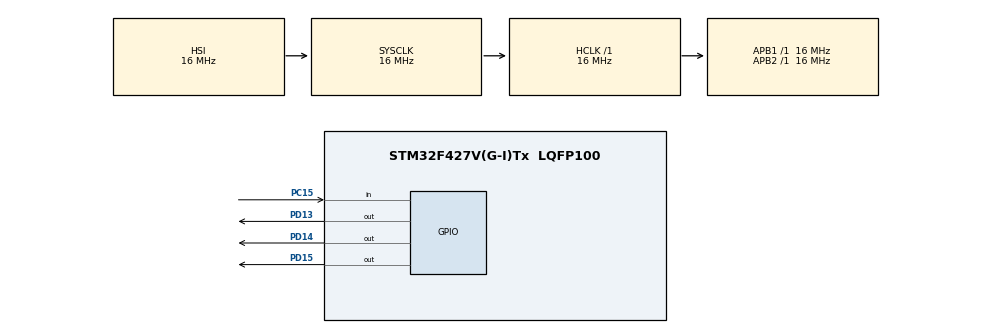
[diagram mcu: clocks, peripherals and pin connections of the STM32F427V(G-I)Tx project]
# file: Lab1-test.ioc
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Mcu.Family=STM32F4
Mcu.Name=STM32F427V(G-I)Tx
Mcu.Package=LQFP100
NVIC.PriorityGroup=NVIC_PRIORITYGROUP_4
PA13.Mode=JTAG_5_pins
PA13.Signal=SYS_JTMS-SWDIO
PA14.Mode=JTAG_5_pins
PA14.Signal=SYS_JTCK-SWCLK
PA15.Mode=JTAG_5_pins
PA15.Signal=SYS_JTDI
PB3.Mode=JTAG_5_pins
PB3.Signal=SYS_JTDO-SWO
PB4.Mode=JTAG_5_pins
PB4.Signal=SYS_JTRST
PC15/OSC32_OUT.Signal=GPIO_Input
PD13.Signal=GPIO_Output
PD14.Signal=GPIO_Output
PD15.Signal=GPIO_Output
ProjectManager.HeapSize=0x200
ProjectManager.StackSize=0x400
ProjectManager.TargetToolchain=STM32CubeIDE
RCC.AHBFreq_Value=16000000
RCC.APB1Freq_Value=16000000
RCC.APB2Freq_Value=16000000
RCC.CortexFreq_Value=16000000
RCC.HSE_VALUE=25000000
RCC.HSI_VALUE=16000000
RCC.LSE_VALUE=32768
RCC.SYSCLKFreq_VALUE=16000000
RCC.VCOOutputFreq_Value=192000000
board=custom

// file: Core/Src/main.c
/* USER CODE BEGIN Header */
/**
  ******************************************************************************
  * @file           : main.c
  * @brief          : Main program body
  ******************************************************************************
  * @attention
  *
  * Copyright (c) 2022 STMicroelectronics.
  * All rights reserved.
  *
  * This software is licensed under terms that can be found in the LICENSE file
  * in the root directory of this software component.
  * If no LICENSE file comes with this software, it is provided AS-IS.
  *
  ******************************************************************************
  */
/* USER CODE END Header */
#include "main.h"
#include "gpio.h"

/* USER CODE BEGIN PV */

uint16_t GREEN_LIGHT = GPIO_PIN_13;
uint16_t YELLOW_LIGHT = GPIO_PIN_14;
uint16_t RED_LIGHT = GPIO_PIN_15;

uint16_t BUTTON = GPIO_PIN_15;
/* USER CODE END PV */

void SystemClock_Config(void);

/* USER CODE BEGIN 0 */

void wait(uint32_t duration)
{
	uint32_t begin = HAL_GetTick();
	while((HAL_GetTick() - begin) < duration){}
}

void turnSpecificLightOff(uint16_t light_type)
{
	HAL_GPIO_WritePin(GPIOD, light_type, 0);
}

void shutdownAll()
{
	turnSpecificLightOff(GREEN_LIGHT);
	turnSpecificLightOff(YELLOW_LIGHT);
	turnSpecificLightOff(RED_LIGHT);

}

void turnSpecificLightOn(uint16_t light_type)
{
	HAL_GPIO_WritePin(GPIOD, light_type, 1);
}

void blinkLight(uint32_t count, uint16_t light_type, uint32_t duration)
{
	for(uint32_t i = 0; i < count; i++)
	{
		wait(duration);
		turnSpecificLightOn(light_type);
		wait(duration);
		turnSpecificLightOff(light_type);
	}
}

/* USER CODE END 0 */

int main(void)
{

  /* MCU Configuration--------------------------------------------------------*/

  /* Reset of all peripherals, Initializes the Flash interface and the Systick. */
  HAL_Init();

  /* Configure the system clock */
  SystemClock_Config();

  /* Initialize all configured peripherals */

  MX_GPIO_Init();

  /* USER CODE BEGIN 2 */

  uint32_t startTime = 0;
  uint32_t greenLightDuration = 10000;
  uint32_t blinkDuration = 500;
  uint32_t redLightDuration = 4 * greenLightDuration;
  uint32_t yellowLightDuration = 3000;
  uint8_t buttonFlag = 0;

  /* USER CODE END 2 */

  /* Infinite loop */
  /* USER CODE BEGIN WHILE */
  while (1)
  {
	  startTime = HAL_GetTick();

	  turnSpecificLightOn(RED_LIGHT);

	  while((HAL_GetTick() - startTime) < redLightDuration)
	  {
		  if(HAL_GPIO_ReadPin(GPIOC, BUTTON) == 0 && buttonFlag == 0) {
			  redLightDuration = redLightDuration / 4;
			  buttonFlag = 1;
		  }
	  }

	  turnSpecificLightOff(RED_LIGHT);
	  turnSpecificLightOn(GREEN_LIGHT);

	  wait(greenLightDuration);

	  blinkLight(3, GREEN_LIGHT, blinkDuration);

	  redLightDuration = 4 * greenLightDuration;
	  buttonFlag = 0;

	  turnSpecificLightOn(YELLOW_LIGHT);

	  startTime = HAL_GetTick();
	  while((HAL_GetTick() - startTime) < yellowLightDuration)
	  {
		  if(HAL_GPIO_ReadPin(GPIOC, BUTTON) == 0 && buttonFlag == 0) {
			  redLightDuration = redLightDuration / 4;
			  buttonFlag = 1;
		  }
	  }

    /* USER CODE END WHILE */

  }
}

void SystemClock_Config(void)
{
  RCC_OscInitTypeDef RCC_OscInitStruct = {0};
  RCC_ClkInitTypeDef RCC_ClkInitStruct = {0};

  /** Configure the main internal regulator output voltage
  */
  __HAL_RCC_PWR_CLK_ENABLE();
  __HAL_PWR_VOLTAGESCALING_CONFIG(PWR_REGULATOR_VOLTAGE_SCALE3);

  /** Initializes the RCC Oscillators according to the specified parameters
  * in the RCC_OscInitTypeDef structure.
  */
  RCC_OscInitStruct.OscillatorType = RCC_OSCILLATORTYPE_HSI;
  RCC_OscInitStruct.HSIState = RCC_HSI_ON;
  RCC_OscInitStruct.HSICalibrationValue = RCC_HSICALIBRATION_DEFAULT;
  RCC_OscInitStruct.PLL.PLLState = RCC_PLL_NONE;
  if (HAL_RCC_OscConfig(&RCC_OscInitStruct) != HAL_OK)
  {
    Error_Handler();
  }

  /** Initializes the CPU, AHB and APB buses clocks
  */
  RCC_ClkInitStruct.ClockType = RCC_CLOCKTYPE_HCLK|RCC_CLOCKTYPE_SYSCLK
                              |RCC_CLOCKTYPE_PCLK1|RCC_CLOCKTYPE_PCLK2;
  RCC_ClkInitStruct.SYSCLKSource = RCC_SYSCLKSOURCE_HSI;
  RCC_ClkInitStruct.AHBCLKDivider = RCC_SYSCLK_DIV1;
  RCC_ClkInitStruct.APB1CLKDivider = RCC_HCLK_DIV1;
  RCC_ClkInitStruct.APB2CLKDivider = RCC_HCLK_DIV1;

  if (HAL_RCC_ClockConfig(&RCC_ClkInitStruct, FLASH_LATENCY_0) != HAL_OK)
  {
    Error_Handler();
  }
}

void Error_Handler(void)
{
  __disable_irq();
  while (1)
  {
  }
}
